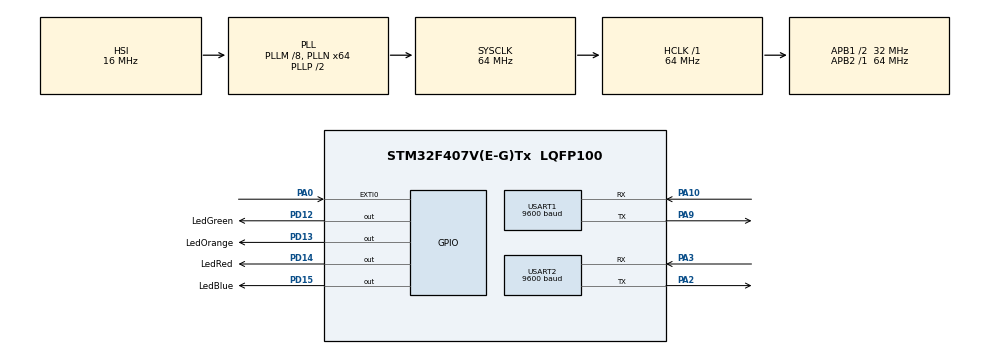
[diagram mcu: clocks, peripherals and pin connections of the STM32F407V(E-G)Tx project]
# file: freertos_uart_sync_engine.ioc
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Mcu.Family=STM32F4
Mcu.Name=STM32F407V(E-G)Tx
Mcu.Package=LQFP100
NVIC.EXTI0_IRQn=true\:0\:0\:false\:false\:true\:true\:true\:true
NVIC.PriorityGroup=NVIC_PRIORITYGROUP_4
NVIC.TIM1_UP_TIM10_IRQn=true\:15\:0\:false\:false\:true\:false\:true\:true
NVIC.TimeBase=TIM1_UP_TIM10_IRQn
NVIC.TimeBaseIP=TIM1
NVIC.USART1_IRQn=true\:0\:0\:false\:false\:true\:true\:true\:true
NVIC.USART2_IRQn=true\:0\:0\:false\:false\:true\:true\:true\:true
PA0-WKUP.Signal=GPXTI0
PA10.Mode=Asynchronous
PA10.Signal=USART1_RX
PA13.Mode=Serial_Wire
PA13.Signal=SYS_JTMS-SWDIO
PA14.Mode=Serial_Wire
PA14.Signal=SYS_JTCK-SWCLK
PA2.Mode=Asynchronous
PA2.Signal=USART2_TX
PA3.Mode=Asynchronous
PA3.Signal=USART2_RX
PA9.Mode=Asynchronous
PA9.Signal=USART1_TX
PD12.GPIO_Label=LedGreen
PD12.Signal=GPIO_Output
PD13.GPIO_Label=LedOrange
PD13.Signal=GPIO_Output
PD14.GPIO_Label=LedRed
PD14.Signal=GPIO_Output
PD15.GPIO_Label=LedBlue
PD15.Signal=GPIO_Output
ProjectManager.HeapSize=0x200
ProjectManager.StackSize=0x400
ProjectManager.TargetToolchain=STM32CubeIDE
RCC.48MHZClocksFreq_Value=32000000
RCC.AHBFreq_Value=64000000
RCC.APB1CLKDivider=RCC_HCLK_DIV2
RCC.APB1Freq_Value=32000000
RCC.APB1TimFreq_Value=64000000
RCC.APB2Freq_Value=64000000
RCC.APB2TimFreq_Value=64000000
RCC.CortexFreq_Value=64000000
RCC.HCLKFreq_Value=64000000
RCC.HSE_VALUE=25000000
RCC.HSI_VALUE=16000000
RCC.LSE_VALUE=32768
RCC.PLLM=8
RCC.PLLN=64
RCC.SYSCLKFreq_VALUE=64000000
RCC.SYSCLKSource=RCC_SYSCLKSOURCE_PLLCLK
RCC.VCOOutputFreq_Value=128000000
USART1.BaudRate=9600
USART1.VirtualMode=VM_ASYNC
USART2.BaudRate=9600
USART2.VirtualMode=VM_ASYNC
VP_RNG_VS_RNG.Mode=RNG_Activate
VP_SYS_VS_tim1.Mode=TIM1
board=custom

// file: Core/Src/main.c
/* USER CODE BEGIN Header */
/**
  ******************************************************************************
  * @file           : main.c
  * @brief          : Main program body
  ******************************************************************************
  * @attention
  *
  * Copyright (c) 2026 STMicroelectronics.
  * All rights reserved.
  *
  * This software is licensed under terms that can be found in the LICENSE file
  * in the root directory of this software component.
  * If no LICENSE file comes with this software, it is provided AS-IS.
  *
  ******************************************************************************
  */
/* USER CODE END Header */
#include "main.h"

/* USER CODE BEGIN Includes */
#include "FreeRTOS.h"
#include "timers.h"
#include "semphr.h"
#include "task.h"
#include "string.h"
#include "stdio.h"
/* USER CODE END Includes */

/* USER CODE BEGIN PD */
#define auto_reload_timer									pdMS_TO_TICKS(500)
/* USER CODE END PD */

RNG_HandleTypeDef hrng;

UART_HandleTypeDef huart1;
UART_HandleTypeDef huart2;

/* USER CODE BEGIN PV */
TimerHandle_t xAutoReloadTimer;
SemaphoreHandle_t xBinarySemaphore;
SemaphoreHandle_t xCountingSemaphore;
SemaphoreHandle_t xBinarySemaphoreButton;
SemaphoreHandle_t xUartMutex;
BaseType_t TimerStarted;

uint8_t rx_buffer[1];
/* USER CODE END PV */

void SystemClock_Config(void);
static void MX_GPIO_Init(void);
static void MX_USART1_UART_Init(void);
static void MX_RNG_Init(void);
static void MX_USART2_UART_Init(void);
/* USER CODE BEGIN PFP */
static void vTaskSensor (void *pvParameters);
static void vSemaphoreGive (TimerHandle_t xTimer);
static void vTelemetryRead (void *pvParameters);
static void vEmergencyButton (void *pvParameters);
static void vUartPrint (const char* xBuffer);
/* USER CODE END PFP */

/* USER CODE BEGIN 0 */
static void vUartPrint (const char* xBuffer){
	if(xSemaphoreTake(xUartMutex, portMAX_DELAY)==pdPASS){
		HAL_UART_Transmit(&huart2, (uint8_t*)xBuffer, strlen(xBuffer), 0xFFFF);
		xSemaphoreGive(xUartMutex);
	}
}
static void vTaskSensor (void* pvParameters){
	uint32_t random;
	double heat;
	char buffer[50];
	for(;;){
		if(xSemaphoreTake(xBinarySemaphore, portMAX_DELAY)==pdTRUE){
			HAL_RNG_GenerateRandomNumber(&hrng, &random);
			heat = 100 + (double)(random%410)/10;
			sprintf(buffer, "Heat is: %.2f \r\n", heat);
			vUartPrint(buffer);
			HAL_GPIO_WritePin(GPIOD, GPIO_PIN_15, GPIO_PIN_SET);
			vTaskDelay(pdMS_TO_TICKS(50));
			HAL_GPIO_WritePin(GPIOD, GPIO_PIN_15, GPIO_PIN_RESET);
		}
	}
}
static void vSemaphoreGive(TimerHandle_t xTimer){
	xSemaphoreGive(xBinarySemaphore);
}
static void vTelemetryRead (void *pvParameters){
	char buffer[50] = "Command received. \r\n";
	for(;;){
		if(xSemaphoreTake(xCountingSemaphore, portMAX_DELAY)==pdPASS){
			vUartPrint(buffer);
			HAL_GPIO_WritePin(GPIOD, GPIO_PIN_12, GPIO_PIN_SET);
			vTaskDelay(pdMS_TO_TICKS(50));
			HAL_GPIO_WritePin(GPIOD, GPIO_PIN_12, GPIO_PIN_RESET);
		}
	}
}
static void vEmergencyButton (void *pvParameters){
	char buffer[50] = "Emergency interrupt! \r\n";
	for(;;){
		if(xSemaphoreTake(xBinarySemaphoreButton, portMAX_DELAY)==pdPASS){
			vUartPrint(buffer);
			HAL_GPIO_WritePin(GPIOD, GPIO_PIN_14, GPIO_PIN_SET);
			vTaskDelay(pdMS_TO_TICKS(50));
			HAL_GPIO_WritePin(GPIOD, GPIO_PIN_14, GPIO_PIN_RESET);
		}
	}
}

/* USER CODE END 0 */

int main(void)
{

  /* MCU Configuration--------------------------------------------------------*/

  /* Reset of all peripherals, Initializes the Flash interface and the Systick. */
  HAL_Init();

  /* Configure the system clock */
  SystemClock_Config();

  /* Initialize all configured peripherals */
  MX_GPIO_Init();
  MX_USART1_UART_Init();
  MX_RNG_Init();
  MX_USART2_UART_Init();
  /* USER CODE BEGIN 2 */
  HAL_NVIC_SetPriority(USART2_IRQn, 6, 0);
  HAL_NVIC_EnableIRQ(USART2_IRQn);

  HAL_UART_Receive_IT(&huart2, rx_buffer, 1);

  xBinarySemaphore = xSemaphoreCreateBinary();
  xCountingSemaphore = xSemaphoreCreateCounting(100,0);
  xBinarySemaphoreButton = xSemaphoreCreateBinary();
  xUartMutex = xSemaphoreCreateMutex();

  if(xBinarySemaphore!=NULL && xCountingSemaphore!=NULL && xBinarySemaphoreButton!=NULL && xUartMutex!=NULL){
	  xTaskCreate(vTaskSensor, "Task1", 512, NULL, 1, NULL);
	  xTaskCreate(vTelemetryRead, "Task2", 512, NULL, 2, NULL);
	  xTaskCreate(vEmergencyButton, "Task3", 512, NULL, 3, NULL);
	  xAutoReloadTimer = xTimerCreate("AutoReloadTimer", auto_reload_timer, pdTRUE, 0, vSemaphoreGive);

	  if(xAutoReloadTimer!=NULL){
		  TimerStarted = xTimerStart(xAutoReloadTimer, 0);
	  }else{
		  char buffer[50]="Timers could not be started. \r\n";
		  HAL_UART_Transmit(&huart2, (uint8_t*)buffer, strlen(buffer), 0xFFFF);
	  }

	  if(TimerStarted==pdPASS){
		  vTaskStartScheduler();
	  }
  }else{
	  char buffer[50]="Semaphores could not be created. \r\n";
	  HAL_UART_Transmit(&huart2, (uint8_t*)buffer, strlen(buffer), 0xFFFF);
  }
  /* USER CODE END 2 */

  /* Infinite loop */
  while (1)
  {

  }
}

void SystemClock_Config(void)
{
  RCC_OscInitTypeDef RCC_OscInitStruct = {0};
  RCC_ClkInitTypeDef RCC_ClkInitStruct = {0};

  /** Configure the main internal regulator output voltage
  */
  __HAL_RCC_PWR_CLK_ENABLE();
  __HAL_PWR_VOLTAGESCALING_CONFIG(PWR_REGULATOR_VOLTAGE_SCALE1);

  /** Initializes the RCC Oscillators according to the specified parameters
  * in the RCC_OscInitTypeDef structure.
  */
  RCC_OscInitStruct.OscillatorType = RCC_OSCILLATORTYPE_HSI;
  RCC_OscInitStruct.HSIState = RCC_HSI_ON;
  RCC_OscInitStruct.HSICalibrationValue = RCC_HSICALIBRATION_DEFAULT;
  RCC_OscInitStruct.PLL.PLLState = RCC_PLL_ON;
  RCC_OscInitStruct.PLL.PLLSource = RCC_PLLSOURCE_HSI;
  RCC_OscInitStruct.PLL.PLLM = 8;
  RCC_OscInitStruct.PLL.PLLN = 64;
  RCC_OscInitStruct.PLL.PLLP = RCC_PLLP_DIV2;
  RCC_OscInitStruct.PLL.PLLQ = 4;
  if (HAL_RCC_OscConfig(&RCC_OscInitStruct) != HAL_OK)
  {
    Error_Handler();
  }

  /** Initializes the CPU, AHB and APB buses clocks
  */
  RCC_ClkInitStruct.ClockType = RCC_CLOCKTYPE_HCLK|RCC_CLOCKTYPE_SYSCLK
                              |RCC_CLOCKTYPE_PCLK1|RCC_CLOCKTYPE_PCLK2;
  RCC_ClkInitStruct.SYSCLKSource = RCC_SYSCLKSOURCE_PLLCLK;
  RCC_ClkInitStruct.AHBCLKDivider = RCC_SYSCLK_DIV1;
  RCC_ClkInitStruct.APB1CLKDivider = RCC_HCLK_DIV2;
  RCC_ClkInitStruct.APB2CLKDivider = RCC_HCLK_DIV1;

  if (HAL_RCC_ClockConfig(&RCC_ClkInitStruct, FLASH_LATENCY_2) != HAL_OK)
  {
    Error_Handler();
  }
}

static void MX_RNG_Init(void)
{

  hrng.Instance = RNG;
  if (HAL_RNG_Init(&hrng) != HAL_OK)
  {
    Error_Handler();
  }

}

static void MX_USART1_UART_Init(void)
{

  huart1.Instance = USART1;
  huart1.Init.BaudRate = 9600;
  huart1.Init.WordLength = UART_WORDLENGTH_8B;
  huart1.Init.StopBits = UART_STOPBITS_1;
  huart1.Init.Parity = UART_PARITY_NONE;
  huart1.Init.Mode = UART_MODE_TX_RX;
  huart1.Init.HwFlowCtl = UART_HWCONTROL_NONE;
  huart1.Init.OverSampling = UART_OVERSAMPLING_16;
  if (HAL_UART_Init(&huart1) != HAL_OK)
  {
    Error_Handler();
  }

}

static void MX_USART2_UART_Init(void)
{

  huart2.Instance = USART2;
  huart2.Init.BaudRate = 9600;
  huart2.Init.WordLength = UART_WORDLENGTH_8B;
  huart2.Init.StopBits = UART_STOPBITS_1;
  huart2.Init.Parity = UART_PARITY_NONE;
  huart2.Init.Mode = UART_MODE_TX_RX;
  huart2.Init.HwFlowCtl = UART_HWCONTROL_NONE;
  huart2.Init.OverSampling = UART_OVERSAMPLING_16;
  if (HAL_UART_Init(&huart2) != HAL_OK)
  {
    Error_Handler();
  }

}

static void MX_GPIO_Init(void)
{
  GPIO_InitTypeDef GPIO_InitStruct = {0};

  /* GPIO Ports Clock Enable */
  __HAL_RCC_GPIOA_CLK_ENABLE();
  __HAL_RCC_GPIOD_CLK_ENABLE();

  /*Configure GPIO pin Output Level */
  HAL_GPIO_WritePin(GPIOD, LedGreen_Pin|LedOrange_Pin|LedRed_Pin|LedBlue_Pin, GPIO_PIN_RESET);

  /*Configure GPIO pin : PA0 */
  GPIO_InitStruct.Pin = GPIO_PIN_0;
  GPIO_InitStruct.Mode = GPIO_MODE_IT_RISING;
  GPIO_InitStruct.Pull = GPIO_NOPULL;
  HAL_GPIO_Init(GPIOA, &GPIO_InitStruct);

  /*Configure GPIO pins : LedGreen_Pin LedOrange_Pin LedRed_Pin LedBlue_Pin */
  GPIO_InitStruct.Pin = LedGreen_Pin|LedOrange_Pin|LedRed_Pin|LedBlue_Pin;
  GPIO_InitStruct.Mode = GPIO_MODE_OUTPUT_PP;
  GPIO_InitStruct.Pull = GPIO_NOPULL;
  GPIO_InitStruct.Speed = GPIO_SPEED_FREQ_LOW;
  HAL_GPIO_Init(GPIOD, &GPIO_InitStruct);

  /* EXTI interrupt init*/
  HAL_NVIC_SetPriority(EXTI0_IRQn, 5, 0);
  HAL_NVIC_EnableIRQ(EXTI0_IRQn);

}

/* USER CODE BEGIN 4 */
void HAL_UART_RxCpltCallback(UART_HandleTypeDef *huart)
{
	if(huart->Instance == USART2){
		BaseType_t xHigherPriorityTaskWoken = pdFALSE;
		xSemaphoreGiveFromISR(xCountingSemaphore, &xHigherPriorityTaskWoken);
		portYIELD_FROM_ISR(xHigherPriorityTaskWoken);

		HAL_UART_Receive_IT(huart, rx_buffer, 1);
	}
}

void HAL_GPIO_EXTI_Callback(uint16_t GPIO_Pin)
{
	static TickType_t xLastTick = 0;
	if(GPIO_Pin == GPIO_PIN_0){
		TickType_t xNow = xTaskGetTickCountFromISR();
		if(xNow - xLastTick >= pdMS_TO_TICKS(500)){
			BaseType_t xHigherPriorityTaskWoken = pdFALSE;
			xSemaphoreGiveFromISR(xBinarySemaphoreButton, &xHigherPriorityTaskWoken);
			portYIELD_FROM_ISR(xHigherPriorityTaskWoken);
		}
	}
}
/* USER CODE END 4 */

void HAL_TIM_PeriodElapsedCallback(TIM_HandleTypeDef *htim)
{
  if (htim->Instance == TIM1)
  {
    HAL_IncTick();
  }
}

void Error_Handler(void)
{
  __disable_irq();
  while (1)
  {
  }
}
